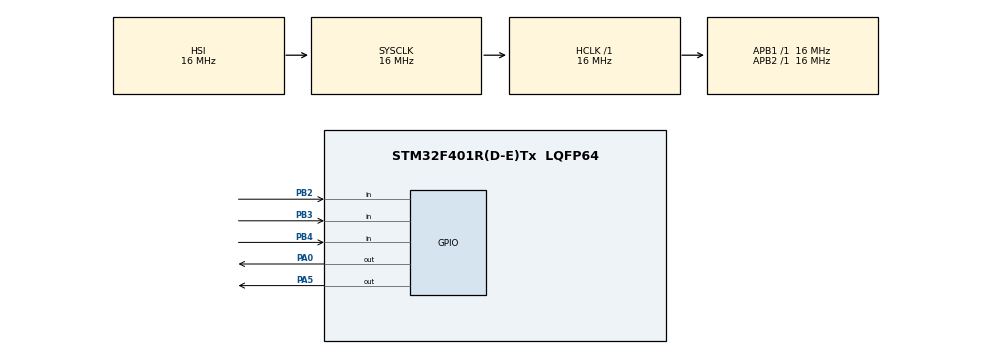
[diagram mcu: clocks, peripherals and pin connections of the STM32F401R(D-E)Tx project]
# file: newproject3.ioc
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Mcu.Family=STM32F4
Mcu.Name=STM32F401R(D-E)Tx
Mcu.Package=LQFP64
NVIC.PriorityGroup=NVIC_PRIORITYGROUP_4
PA0-WKUP.GPIO_ModeDefaultOutputPP=GPIO_MODE_OUTPUT_PP
PA0-WKUP.Signal=GPIO_Output
PA5.GPIO_ModeDefaultOutputPP=GPIO_MODE_OUTPUT_PP
PA5.Signal=GPIO_Output
PB2.GPIO_PuPd=GPIO_PULLDOWN
PB2.Signal=GPIO_Input
PB3.GPIO_PuPd=GPIO_PULLDOWN
PB3.Signal=GPIO_Input
PB4.GPIO_PuPd=GPIO_PULLDOWN
PB4.Signal=GPIO_Input
ProjectManager.HeapSize=0x200
ProjectManager.StackSize=0x400
ProjectManager.TargetToolchain=STM32CubeIDE
RCC.AHBFreq_Value=16000000
RCC.APB1Freq_Value=16000000
RCC.APB2Freq_Value=16000000
RCC.CortexFreq_Value=16000000
RCC.HSE_VALUE=25000000
RCC.HSI_VALUE=16000000
RCC.LSE_VALUE=32768
RCC.SYSCLKFreq_VALUE=16000000
RCC.VCOOutputFreq_Value=192000000
board=custom

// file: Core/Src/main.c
/* USER CODE BEGIN Header */
/**
  ******************************************************************************
  * @file           : main.c
  * @brief          : Main program body
  ******************************************************************************
  * @attention
  *
  * Copyright (c) 2022 STMicroelectronics.
  * All rights reserved.
  *
  * This software is licensed under terms that can be found in the LICENSE file
  * in the root directory of this software component.
  * If no LICENSE file comes with this software, it is provided AS-IS.
  *
  ******************************************************************************
  */
/* USER CODE END Header */
#include "main.h"

#define STOP_Pin GPIO_PIN_2
#define FORWARD_Pin GPIO_PIN_3
#define REVERCE_Pin GPIO_PIN_4
#define Button_GPIO_Port GPIOB

// define for output
#define MOTOR_port GPIOA
#define KM1_FORW_Pin GPIO_PIN_0
#define KM2_REV_Pin GPIO_PIN_5

void SystemClock_Config(void);
static void MX_GPIO_Init(void);

int main(void)
{

  /* MCU Configuration--------------------------------------------------------*/

  /* Reset of all peripherals, Initializes the Flash interface and the Systick. */
  HAL_Init();

  /* Configure the system clock */
  SystemClock_Config();

  /* Initialize all configured peripherals */
  MX_GPIO_Init();
  /* USER CODE BEGIN 2 */
  HAL_GPIO_WritePin(MOTOR_port, KM1_FORW_Pin, GPIO_PIN_RESET);
  HAL_GPIO_WritePin(MOTOR_port, KM2_REV_Pin, GPIO_PIN_RESET);
  uint8_t state = 0;
  /* USER CODE END 2 */

  /* Infinite loop */
  /* USER CODE BEGIN WHILE */
  while (1)
  {
	  if(!state && (HAL_GPIO_ReadPin(Button_GPIO_Port, FORWARD_Pin) != 0) &&
			  (HAL_GPIO_ReadPin(Button_GPIO_Port, REVERCE_Pin) == 0))
	  {
		  state = 1;
		  HAL_GPIO_WritePin(MOTOR_port, KM1_FORW_Pin, GPIO_PIN_SET);
		  HAL_GPIO_WritePin(MOTOR_port, KM2_REV_Pin, GPIO_PIN_RESET);
	  }
	  else
	  {
		  if(state != 0 && (HAL_GPIO_ReadPin(Button_GPIO_Port,STOP_Pin) != 0))
		  {
			  state = 0;
			  HAL_GPIO_WritePin(MOTOR_port, KM1_FORW_Pin, GPIO_PIN_RESET);
			  HAL_GPIO_WritePin(MOTOR_port, KM2_REV_Pin, GPIO_PIN_RESET);
		  }
		  else
		  {
			  if(!state &&(HAL_GPIO_ReadPin(Button_GPIO_Port, REVERCE_Pin) != 0) &&
					  (HAL_GPIO_ReadPin(Button_GPIO_Port, FORWARD_Pin) == 0))
			  {
				  state = 1;
				  HAL_GPIO_WritePin(MOTOR_port, KM1_FORW_Pin, GPIO_PIN_RESET);
				  HAL_GPIO_WritePin(MOTOR_port, KM2_REV_Pin, GPIO_PIN_SET);
			  }
		  }
	  }
    /* USER CODE END WHILE */

  }
}

void SystemClock_Config(void)
{
  RCC_OscInitTypeDef RCC_OscInitStruct = {0};
  RCC_ClkInitTypeDef RCC_ClkInitStruct = {0};

  /** Configure the main internal regulator output voltage
  */
  __HAL_RCC_PWR_CLK_ENABLE();
  __HAL_PWR_VOLTAGESCALING_CONFIG(PWR_REGULATOR_VOLTAGE_SCALE2);

  /** Initializes the RCC Oscillators according to the specified parameters
  * in the RCC_OscInitTypeDef structure.
  */
  RCC_OscInitStruct.OscillatorType = RCC_OSCILLATORTYPE_HSI;
  RCC_OscInitStruct.HSIState = RCC_HSI_ON;
  RCC_OscInitStruct.HSICalibrationValue = RCC_HSICALIBRATION_DEFAULT;
  RCC_OscInitStruct.PLL.PLLState = RCC_PLL_NONE;
  if (HAL_RCC_OscConfig(&RCC_OscInitStruct) != HAL_OK)
  {
    Error_Handler();
  }

  /** Initializes the CPU, AHB and APB buses clocks
  */
  RCC_ClkInitStruct.ClockType = RCC_CLOCKTYPE_HCLK|RCC_CLOCKTYPE_SYSCLK
                              |RCC_CLOCKTYPE_PCLK1|RCC_CLOCKTYPE_PCLK2;
  RCC_ClkInitStruct.SYSCLKSource = RCC_SYSCLKSOURCE_HSI;
  RCC_ClkInitStruct.AHBCLKDivider = RCC_SYSCLK_DIV1;
  RCC_ClkInitStruct.APB1CLKDivider = RCC_HCLK_DIV1;
  RCC_ClkInitStruct.APB2CLKDivider = RCC_HCLK_DIV1;

  if (HAL_RCC_ClockConfig(&RCC_ClkInitStruct, FLASH_LATENCY_0) != HAL_OK)
  {
    Error_Handler();
  }
}

static void MX_GPIO_Init(void)
{
  GPIO_InitTypeDef GPIO_InitStruct = {0};

  /* GPIO Ports Clock Enable */
  __HAL_RCC_GPIOA_CLK_ENABLE();
  __HAL_RCC_GPIOB_CLK_ENABLE();

  /*Configure GPIO pin Output Level */
  HAL_GPIO_WritePin(GPIOA, GPIO_PIN_0|GPIO_PIN_5, GPIO_PIN_RESET);

  /*Configure GPIO pins : PA0 PA5 */
  GPIO_InitStruct.Pin = GPIO_PIN_0|GPIO_PIN_5;
  GPIO_InitStruct.Mode = GPIO_MODE_OUTPUT_PP;
  GPIO_InitStruct.Pull = GPIO_NOPULL;
  GPIO_InitStruct.Speed = GPIO_SPEED_FREQ_LOW;
  HAL_GPIO_Init(GPIOA, &GPIO_InitStruct);

  /*Configure GPIO pins : PB2 PB3 PB4 */
  GPIO_InitStruct.Pin = GPIO_PIN_2|GPIO_PIN_3|GPIO_PIN_4;
  GPIO_InitStruct.Mode = GPIO_MODE_INPUT;
  GPIO_InitStruct.Pull = GPIO_PULLDOWN;
  HAL_GPIO_Init(GPIOB, &GPIO_InitStruct);

}

void Error_Handler(void)
{
  __disable_irq();
  while (1)
  {
  }
}
